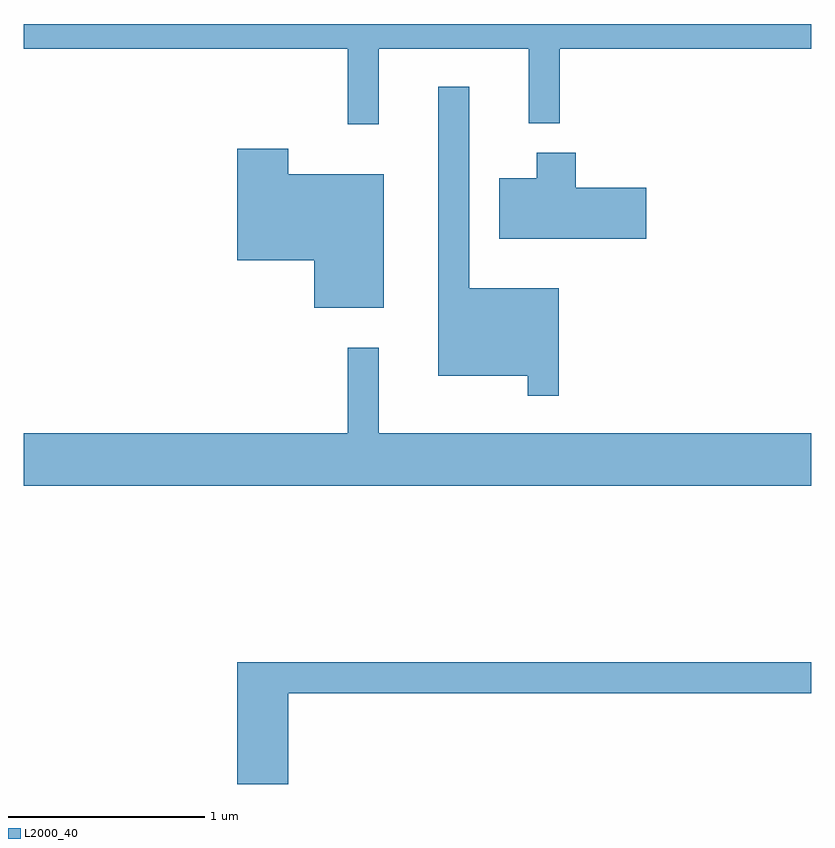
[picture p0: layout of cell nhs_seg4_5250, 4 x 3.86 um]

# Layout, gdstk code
import gdstk
lib = gdstk.Library(unit=1e-6, precision=1e-09)
def P(c, l, *ps):  # polygons
    for p in ps: c.add(gdstk.Polygon(p, *l))
L2000_40 = (2000, 40)

nhs_seg4_5250 = lib.new_cell('nhs_seg4_5250')
P(nhs_seg4_5250, L2000_40, [(341.414,1285.856),(342.176,1285.856),(342.176,1285.478),(342.334,1285.478),(342.334,1285.856),(343.611,1285.856),(343.611,1285.982),(339.611,1285.982),(339.611,1285.856),(341.256,1285.856),(341.256,1285.473),(341.414,1285.473)],
  [(342.329,1284.639),(341.874,1284.639),(341.874,1285.663),(341.716,1285.663),(341.716,1284.196),(342.171,1284.196),(342.171,1284.093),(342.329,1284.093)],
  [(341.439,1285.219),(340.954,1285.219),(340.954,1285.349),(340.696,1285.349),(340.696,1284.781),(341.086,1284.781),(341.086,1284.541),(341.439,1284.541)],
  [(342.774,1285.149),(342.414,1285.149),(342.414,1285.329),(342.216,1285.329),(342.216,1285.199),(342.026,1285.199),(342.026,1284.891),(342.774,1284.891)],
  [(343.611,1283.904),(341.414,1283.904),(341.414,1284.338),(341.256,1284.338),(341.256,1283.904),(339.611,1283.904),(339.611,1283.636),(343.611,1283.636)],
  [(340.954,1282.581),(343.611,1282.581),(343.611,1282.739),(340.696,1282.739),(340.696,1282.121),(340.954,1282.121)])

lib.write_gds('nhs_seg4_5250.gds')
